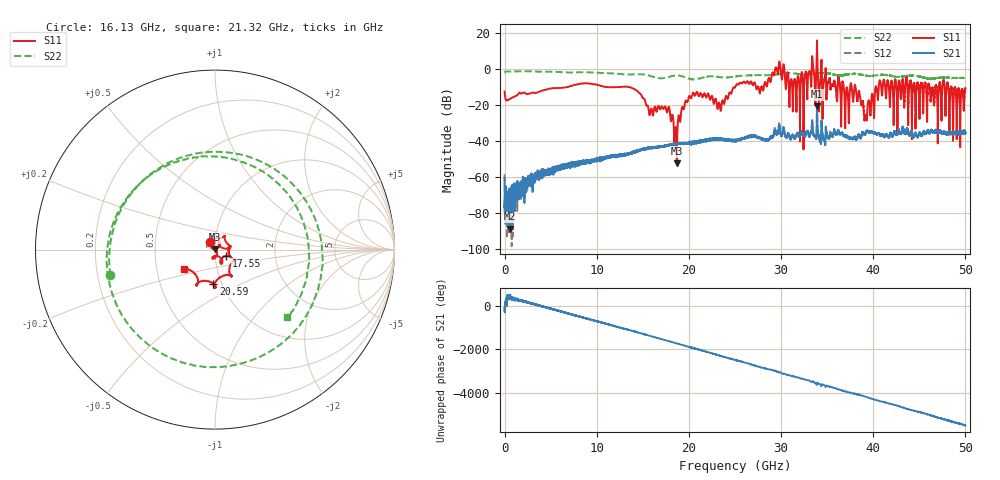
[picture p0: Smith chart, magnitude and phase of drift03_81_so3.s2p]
!Created with skrf (http://scikit-rf.org).
# Hz S RI R 50.0
!freq ReS11 ImS11 ReS21 ImS21 ReS12 ImS12 ReS22 ImS22
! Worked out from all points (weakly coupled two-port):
!   10001 points, 300 kHz to 50 GHz, reference 50 ohm
!   highest |S21| = -20.92 dB at 33.9 GHz (marker M1); lowest = -88.9 dB at 605.3 MHz (marker M2)
!   lowest |S11| = -52.6 dB at 18.7 GHz (marker M3), VSWR 1.00, Z = 50 + j0.234 ohm
!   |S11| at or under -10 dB: start of sweep to 6.94 GHz; 13.33 GHz to 25.05 GHz (11.72 GHz wide, 61.1 % of centre); 38.07 GHz to 40.25 GHz (2.18 GHz wide, 5.57 % of centre) (the widest 3 of 60)
!   |S22| runs from -5.9 to -1.3 dB; largest |S21 - S12| = 0.011
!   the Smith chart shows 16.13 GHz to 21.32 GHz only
!   S11 on the Smith chart (normalised r, x): 16.13 GHz: 0.94, +0.08; 17.55 GHz: 1.13, -0.08; 20.59 GHz: 0.91, -0.36; 21.32 GHz: 0.69, -0.16
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300000  -0.2095 -0.1001  -0.000911 -6.78e-05  0.000352 0.00111  -0.7657 -0.1952
6.052964e8  -0.0483 0.137  -3.3e-05 1.43e-05  0.000211 -0.000188  -0.2837 0.7952
2.335286e9  0.0226 -0.2012  -0.000532 -0.000132  -0.00064 -0.000183  0.0917 -0.8519
3.935276e9  -0.0199 0.2409  0.00108 -0.000176  0.0012 -0.000173  -0.0312 0.8323
5.470267e9  0.068 -0.282  -0.00153 0.00034  -0.00162 0.000185  0.1729 -0.8092
7.135257e9  0.00858 0.3326  0.00192 -0.000722  0.00208 -0.000584  -0.0459 0.7921
8.33525e9  0.2842 -0.2677  -0.00227 -0.00089  -0.00227 -0.00102  0.6041 -0.5344
9.575243e9  -0.372 -0.049  0.00135 0.00229  0.00136 0.00249  -0.7858 -0.0985
1.124523e10  0.3057 0.0242  -0.00229 -0.00292  -0.00221 -0.00258  0.7576 0.0232
1.61252e10  -0.0291 0.0444  0.00599 0.00176  0.00605 0.00201  -0.583 -0.144
1.66702e10  0.0537 0.0758  0.0047 -0.00481  0.00465 -0.00478  -0.3655 0.415
1.754519e10  0.062 -0.0354  -0.00631 -0.00364  -0.00635 -0.00344  0.5024 0.277
1.869519e10  -0.00026 0.00234  0.00247 0.00799  0.00246 0.00794  -0.0872 -0.6506
2.058518e10  -0.00991 -0.1912  -0.00828 -0.0041  -0.00813 -0.00405  0.3789 0.341
2.131517e10  -0.1715 -0.1095  -0.00594 0.00792  -0.00549 0.0082  0.4027 -0.3781
2.500015e10  -0.2971 -0.0501  0.00828 0.00649  0.00762 0.00677  -0.179 -0.5801
3.052012e10  0.2311 -0.1451  -0.00206 0.013  -0.00155 0.0129  0.7456 -0.0638
3.214011e10  0.1994 0.4252  -0.000832 -0.0149  -0.00042 -0.0156  -0.699 0.0046
3.33351e10  0.5065 -0.989  -0.00526 0.0247  -0.00662 0.0245  0.6111 0.3727
3.38951e10  -0.7977 -6.102  0.0892 0.0111  0.0804 0.00531  0.6892 -0.3166
4.167005e10  -0.2265 0.2843  -0.0117 -0.00419  -0.0121 -0.00483  -0.6523 -0.0641
5e10  -0.1431 -0.2555  0.000466 -0.0165  0.000864 -0.0169  0.4762 -0.3074
